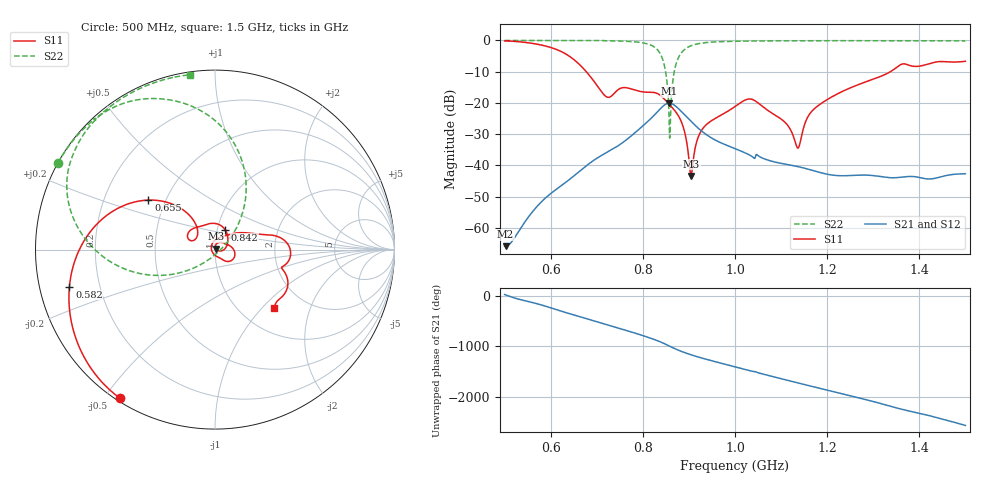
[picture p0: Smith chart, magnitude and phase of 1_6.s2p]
! TOUCHSTONE file generated by CST MICROWAVE STUDIO
! Date and time: Fri Oct  2 18:54:34 2020
! Project name: Scenario_1_Free_Space_out_of_line.cst
! Parameters = {Lambda=346.42; Step_1=17.321; dy1=346; dx1=1039; L_HA=400; MT=2.54; Rad_Dielectric=30; Rad_Lower=7.3; Rad_Upper=30; a_HA=580; a_WG=246; b_HA=500; b_WG=121; c_HA=0; c_WG=187; d_feed=85; h_feed=15; h_lower=18; h_upper=40}
! Header version: 2018
! Port assignment regex: !\s*Touchstone port\s*([0-9]+)\s*=\s*(CST MWS port|CST DS port)\s*([0-9]+|Zmin|Zmax)\s*\(\"(.*)\"\)(\s*mode\s*([0-9]+))?.*
! Touchstone port assignment:
! Touchstone port 1 = CST MWS port 1 ("")
! Touchstone port 2 = CST MWS port 2 ("")
# GHz S DB R 50
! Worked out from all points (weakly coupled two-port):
!   1003 points, 500 MHz to 1.5 GHz, reference 50 ohm
!   highest |S21| = -20.09 dB at 857 MHz (marker M1); lowest = -65.9 dB at 502 MHz (marker M2)
!   lowest |S11| = -43.4 dB at 905 MHz (marker M3), VSWR 1.01, Z = 50.5 + j0.449 ohm
!   |S11| at or under -10 dB: 677.2 MHz to 1.337 GHz (660.2 MHz wide, 65.5 % of centre)
!   |S22| runs from -31.3 to 0.0 dB; largest |S21 - S12| = 0.00029
!   S11 on the Smith chart (normalised r, x): 500 MHz: 0.01, -0.55; 582 MHz: 0.09, -0.12; 655 MHz: 0.40, +0.28; 842 MHz: 1.09, +0.25; 1.5 GHz: 1.41, -1.17
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0.5  -0.15 -122.5  -65.87 21.5  -65.87 21.5  -0.01 151.2
0.502  -0.16 -123.4  -65.90 14.9  -65.90 14.9  -0.01 151.0
0.582  -1.55 -165.8  -51.38 170.3  -51.38 170.3  -0.02 145.5
0.655  -6.71 143.3  -42.83 -34.4  -42.83 -34.4  -0.04 139.5
0.667  -8.37 135.9  -41.38 -66.0  -41.38 -66.0  -0.04 138.4
0.722  -18.13 143.4  -35.86 144.6  -35.86 144.6  -0.11 132.0
0.791  -16.23 123.7  -28.54 -43.0  -28.54 -43.0  -0.58 116.6
0.834  -17.19 76.6  -22.49 -178.2  -22.49 -178.2  -3.39 86.2
0.842  -18.10 63.2  -21.30 151.3  -21.30 151.3  -5.64 73.5
0.857  -20.43 41.3  -20.09 86.6  -20.09 86.6  -24.93 23.0
0.861  -21.08 35.8  -20.17 68.7  -20.17 68.7  -20.73 -129.4
0.875  -23.64 14.7  -21.54 10.5  -21.54 10.5  -6.28 -165.7
0.89  -28.93 -11.8  -23.74 -42.9  -23.74 -42.9  -2.98 176.6
0.905  -43.38 41.0  -25.99 -89.6  -25.99 -89.6  -1.68 165.9
0.93  -28.25 69.6  -29.31 -157.9  -29.31 -157.9  -0.81 154.8
1  -21.18 13.0  -34.65 33.0  -34.65 33.0  -0.26 140.4
1.044  -19.37 -35.9  -37.46 -61.0  -37.31 -60.3  -0.17 135.1
1.11  -26.45 -66.1  -39.65 136.3  -39.65 136.3  -0.12 128.9
1.136  -34.48 -156.9  -40.40 76.9  -40.40 76.9  -0.11 126.8
1.167  -22.64 68.5  -41.58 6.9  -41.57 6.9  -0.10 124.3
1.334  -10.29 15.7  -43.94 -16.6  -43.95 -16.7  -0.09 111.6
1.5  -6.67 -44.8  -42.69 -44.3  -42.72 -44.2  -0.14 98.0
